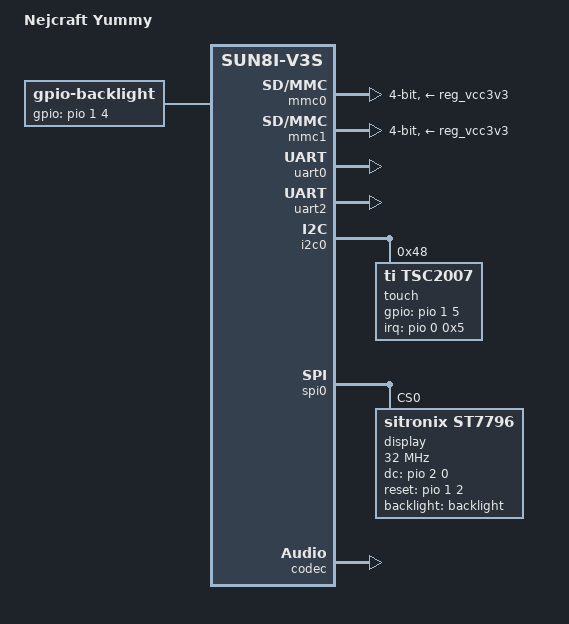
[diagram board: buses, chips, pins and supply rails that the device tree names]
/*
 * Copyright (C) 2016 Icenowy Zheng <icenowy@aosc.xyz>
 *
 * This file is dual-licensed: you can use it either under the terms
 * of the GPL or the X11 license, at your option. Note that this dual
 * licensing only applies to this file, and not this project as a
 * whole.
 *
 *  a) This file is free software; you can redistribute it and/or
 *     modify it under the terms of the GNU General Public License as
 *     published by the Free Software Foundation; either version 2 of the
 *     License, or (at your option) any later version.
 *
 *     This file is distributed in the hope that it will be useful,
  *     but WITHOUT ANY WARRANTY; without even the implied warranty of
  *     MERCHANTABILITY or FITNESS FOR A PARTICULAR PURPOSE.  See the
  *     GNU General Public License for more details.
  *
  * Or, alternatively,
  *
  *  b) Permission is hereby granted, free of charge, to any person
  *     obtaining a copy of this software and associated documentation
  *     files (the "Software"), to deal in the Software without
  *     restriction, including without limitation the rights to use,
  *     copy, modify, merge, publish, distribute, sublicense, and/or
  *     sell copies of the Software, and to permit persons to whom the
  *     Software is furnished to do so, subject to the following
  *     conditions:
  *
  *     The above copyright notice and this permission notice shall be
  *     included in all copies or substantial portions of the Software.
  *
  *     THE SOFTWARE IS PROVIDED "AS IS", WITHOUT WARRANTY OF ANY KIND,
  *     EXPRESS OR IMPLIED, INCLUDING BUT NOT LIMITED TO THE WARRANTIES
  *     OF MERCHANTABILITY, FITNESS FOR A PARTICULAR PURPOSE AND
  *     NONINFRINGEMENT. IN NO EVENT SHALL THE AUTHORS OR COPYRIGHT
  *     HOLDERS BE LIABLE FOR ANY CLAIM, DAMAGES OR OTHER LIABILITY,
  *     WHETHER IN AN ACTION OF CONTRACT, TORT OR OTHERWISE, ARISING
  *     FROM, OUT OF OR IN CONNECTION WITH THE SOFTWARE OR THE USE OR
  *     OTHER DEALINGS IN THE SOFTWARE.
  */

 /dts-v1/;
#include "sun8i-v3s.dtsi"
#include "sunxi-common-regulators.dtsi"

/ {
	model = "Nejcraft Yummy";
	compatible = "nejcraft,yummy", "allwinner,sun8i-v3s";

	aliases {
		serial0 = &uart0;
	};

	chosen {
		stdout-path = "serial0: 115200n8";
	};
/*		
	leds {
		compatible = "gpio-leds";

        green_led {
			label = "Heartbeat";
			gpios = <&pio 4 9 GPIO_ACTIVE_LOW>; /* PE9 *//*
		    linux,default-trigger = "heartbeat";
		};
        
	};*/

	wifi_pwrseq: wifi-pwrseq {
		compatible = "mmc-pwrseq-simple";
	};

    backlight: backlight {
        compatible = "gpio-backlight";
        gpios = <&pio 1 4 GPIO_ACTIVE_HIGH>; // PB4
    };
};

&pio {
	gpio-line-names = 
        /* GPIOA */
        "", "", "", "", "", "", "", "",
        "", "", "", "", "", "", "", "",
        "", "", "", "", "", "", "", "",
        "", "", "", "", "", "", "", "",
        /* GPIOB */
        "PB0", "PB1", "PB2", "PB3", "PB4", "PB5", "PB6", "PB7",
        "PB8", "PB9", "", "", "", "", "", "",
        "", "", "", "", "", "", "", "",
        "", "", "", "", "", "", "", "",
        "",
        /* GPIOC */
        "PC0", "PC1", "PC2", "PC3", "", "", "", "",
        "", "", "", "", "", "", "", "",
        "", "", "", "", "", "", "", "",
        "", "", "", "", "", "", "", "",
        /* GPIOD */
        "", "", "", "", "", "", "", "",
        "", "", "", "", "", "", "", "",
        "", "", "", "", "", "", "", "",
        "", "", "", "", "", "", "", "",//128
        /* GPIOE */
    	"PE0", "PE1", "PE2", "PE3", "PE4", "PE5", "PE6", "PE7",
    	"PE8", "PE9", "PE10", "PE11", "PE12", "PE13", "PE14", "PE15",
    	"PE16", "PE17", "PE18", "PE19", "PE20", "PE21", "PE22", "PE23", "PE24",
        "", "", "", "", "", "", "", "",
        /* GPIOF */
        "PF0", "PF1", "PF2", "PF3", "PF4", "PF5", "PF6", "",
        "", "", "", "", "", "", "", "",
        "", "", "", "", "", "", "", "",
        "", "", "", "", "", "", "", "",//192
        /* GPIOG */
        "PG0", "PG1", "PG2", "PG3", "PG4", "PG5", "", "",
        "", "", "", "", "", "", "", "",
        "", "", "", "", "", "", "", "",
        "", "", "", "", "", "", "", "";



};

&mmc0 {
	broken-cd;
	bus-width = <4>;
	vmmc-supply = <&reg_vcc3v3>;
	status = "okay";
};


&mmc1 {
	broken-cd;
	bus-width = <4>;
	vmmc-supply = <&reg_vcc3v3>;
	status = "okay";

    /*
	rtl8723ds: wifi@1 {
		reg = <1>;
		interrupt-parent = <&pio>;
		interrupts = <6 10 IRQ_TYPE_LEVEL_LOW>; // PG10 
		interrupt-names = "host-wake";
	};*/
};


&uart0 {
	pinctrl-0 = <&uart0_pb_pins>;
	pinctrl-names = "default";
	status = "okay";
};

&uart2{
	status = "okay";
};

&i2c0 {
	status = "okay";

    touch: tsc2007@48 {
			compatible = "ti,tsc2007";
			reg = <0x48>;
            
            interrupt-parent = <&pio>;//PB5
			interrupts = <0 0x5 2>;//PB_EINT5 - bank 0, interrupt 5
			gpios = <&pio 1 5 GPIO_ACTIVE_HIGH>;//PB5

			ti,x-plate-ohms = <300>;
            panel = <&display>;
            touchscreen-swapped-x-y = <1>;
	};
};


&spi0_pins {
    pins = "PC1", "PC2", "PC3";
};
&spi0 {
	status = "okay";

    display: display@0{        
		compatible = "sitronix,st7796";
		reg = <0>;
        write-only;
		spi-max-frequency = <32000000>;
		dc-gpios = <&pio 2 0 GPIO_ACTIVE_HIGH>; //PC0
		reset-gpios = <&pio 1 2 GPIO_ACTIVE_HIGH>; //PB2, for testing PB5
		rotation = <90>;
		backlight = <&backlight>;
    };
};

&codec {
	status = "okay";
};

